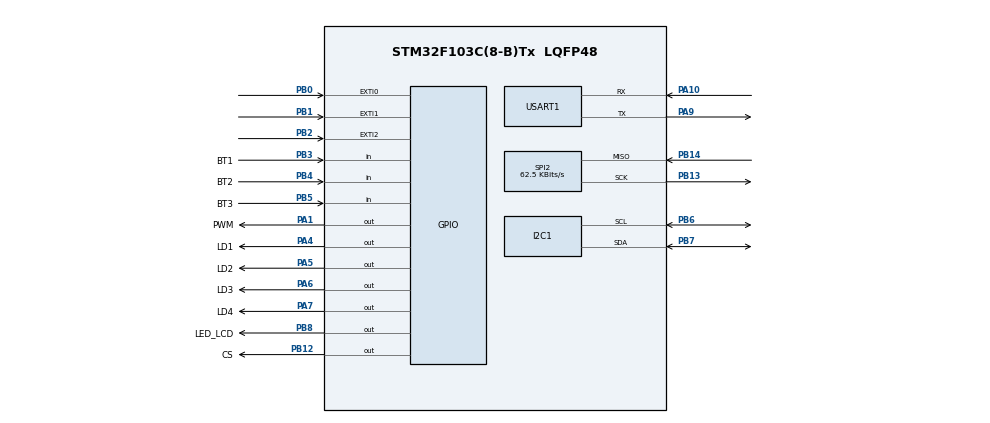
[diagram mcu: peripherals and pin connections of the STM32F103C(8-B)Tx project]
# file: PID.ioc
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Mcu.Family=STM32F1
Mcu.Name=STM32F103C(8-B)Tx
Mcu.Package=LQFP48
NVIC.EXTI0_IRQn=true\:0\:0\:false\:false\:true\:true\:true\:true
NVIC.EXTI1_IRQn=true\:0\:0\:false\:false\:true\:true\:true\:true
NVIC.EXTI2_IRQn=true\:0\:0\:false\:false\:true\:true\:true\:true
NVIC.PriorityGroup=NVIC_PRIORITYGROUP_4
PA1.GPIO_Label=PWM
PA1.Signal=GPIO_Output
PA10.Mode=Asynchronous
PA10.Signal=USART1_RX
PA13.Mode=Serial_Wire
PA13.Signal=SYS_JTMS-SWDIO
PA14.Mode=Serial_Wire
PA14.Signal=SYS_JTCK-SWCLK
PA4.GPIO_Label=LD1
PA4.Signal=GPIO_Output
PA5.GPIO_Label=LD2
PA5.Signal=GPIO_Output
PA6.GPIO_Label=LD3
PA6.Signal=GPIO_Output
PA7.GPIO_Label=LD4
PA7.Signal=GPIO_Output
PA9.Mode=Asynchronous
PA9.Signal=USART1_TX
PB0.GPIO_ModeDefaultEXTI=GPIO_MODE_IT_FALLING
PB0.GPIO_PuPd=GPIO_PULLUP
PB0.Signal=GPXTI0
PB1.GPIO_ModeDefaultEXTI=GPIO_MODE_IT_FALLING
PB1.GPIO_PuPd=GPIO_PULLUP
PB1.Signal=GPXTI1
PB12.GPIO_Label=CS
PB12.Signal=GPIO_Output
PB13.Mode=RX_Only_Simplex_Unidirect_Master
PB13.Signal=SPI2_SCK
PB14.Mode=RX_Only_Simplex_Unidirect_Master
PB14.Signal=SPI2_MISO
PB2.GPIO_ModeDefaultEXTI=GPIO_MODE_IT_FALLING
PB2.GPIO_PuPd=GPIO_PULLUP
PB2.Signal=GPXTI2
PB3.GPIO_Label=BT1
PB3.Signal=GPIO_Input
PB4.GPIO_Label=BT2
PB4.Signal=GPIO_Input
PB5.GPIO_Label=BT3
PB5.Signal=GPIO_Input
PB6.Mode=I2C
PB6.Signal=I2C1_SCL
PB7.Mode=I2C
PB7.Signal=I2C1_SDA
PB8.GPIO_Label=LED_LCD
PB8.Signal=GPIO_Output
PC14-OSC32_IN.Mode=LSE-External-Oscillator
PC14-OSC32_IN.Signal=RCC_OSC32_IN
PC15-OSC32_OUT.Mode=LSE-External-Oscillator
PC15-OSC32_OUT.Signal=RCC_OSC32_OUT
PD0-OSC_IN.Mode=HSE-External-Oscillator
PD0-OSC_IN.Signal=RCC_OSC_IN
PD1-OSC_OUT.Mode=HSE-External-Oscillator
PD1-OSC_OUT.Signal=RCC_OSC_OUT
ProjectManager.HeapSize=0x200
ProjectManager.StackSize=0x400
ProjectManager.TargetToolchain=STM32CubeIDE
RCC.APB1Freq_Value=8000000
RCC.APB2Freq_Value=8000000
RCC.SYSCLKSource=RCC_SYSCLKSOURCE_PLLCLK
RTC.OutPut=RTC_OUTPUTSOURCE_ALARM
SPI2.BaudRatePrescaler=SPI_BAUDRATEPRESCALER_128
SPI2.CRCCalculation=SPI_CRCCALCULATION_DISABLE
SPI2.CalculateBaudRate=62.5 KBits/s
SPI2.DataSize=SPI_DATASIZE_16BIT
SPI2.Direction=SPI_DIRECTION_2LINES_RXONLY
SPI2.Mode=SPI_MODE_MASTER
SPI2.VirtualType=VM_MASTER
USART1.VirtualMode=VM_ASYNC
VP_RTC_VS_RTC_Activate.Mode=RTC_Enabled
VP_RTC_VS_RTC_Calendar.Mode=RTC_Calendar
VP_TIM2_VS_ClockSourceINT.Mode=Internal
board=custom

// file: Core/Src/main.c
/* USER CODE BEGIN Header */
/**
 ******************************************************************************
 * @file           : main.c
 * @brief          : Main program body
 ******************************************************************************
 * @attention
 *
 * Copyright (c) 2023 STMicroelectronics.
 * All rights reserved.
 *
 * This software is licensed under terms that can be found in the LICENSE file
 * in the root directory of this software component.
 * If no LICENSE file comes with this software, it is provided AS-IS.
 *
 ******************************************************************************
 */
/* USER CODE END Header */
#include "main.h"

/* USER CODE BEGIN Includes */
#include "application.h"
/* USER CODE END Includes */

I2C_HandleTypeDef hi2c1;

RTC_HandleTypeDef hrtc;

SPI_HandleTypeDef hspi2;

TIM_HandleTypeDef htim2;

UART_HandleTypeDef huart1;

/* USER CODE BEGIN PV */
CLCD_I2C_Name LCD1;

PIDController pid;

uint32_t encoderCount = 60;
float powerpoint = 1.0f;
uint32_t realValue = 0;
uint8_t dir = 0;
uint64_t timestap = 0;
uint64_t sw_timestap = 0;
uint8_t status = 0;
uint8_t clsmoniter = 0;
double control_signal = 0;
/* USER CODE END PV */

void SystemClock_Config(void);
static void MX_GPIO_Init(void);
static void MX_I2C1_Init(void);
static void MX_USART1_UART_Init(void);
static void MX_SPI2_Init(void);
static void MX_RTC_Init(void);
static void MX_TIM2_Init(void);

/* USER CODE BEGIN 0 */
void HAL_GPIO_EXTI_Callback(uint16_t GPIO_Pin) {
	if (GPIO_Pin == GPIO_PIN_2 && (HAL_GetTick() - sw_timestap) > 1000) {
		if (status == 0) {
			status = 1;
			//clsmoniter = 1;
			initTime();
			PID_Init(&pid, 1.0, 0.1, 0.01, encoderCount);
		} else if (status == 1) {
			initTime();
			status = 2;
			clsmoniter = 1;
		} else if (status == 2) {
			status = 0;
			clsmoniter = 1;
		}
		sw_timestap = HAL_GetTick();
	}

	if (status == 0 || status == 1) {

		if ((HAL_GetTick() - timestap) > 100)
			dir = 0;
		if (GPIO_Pin == GPIO_PIN_1 && dir == 0
				|| GPIO_Pin == GPIO_PIN_1 && dir == 1) {
			encoderCount++;
			PID_Init(&pid, 1.0, 0.1, 0.01, encoderCount);
			HAL_GPIO_TogglePin(LD3_GPIO_Port, LD3_Pin);
			dir = 1;
			timestap = HAL_GetTick();
		}
		if (GPIO_Pin == GPIO_PIN_0 && dir == 0
				|| GPIO_Pin == GPIO_PIN_0 && dir == 2) {
			if (encoderCount > 0) {
				encoderCount--;
				PID_Init(&pid, 1.0, 0.1, 0.01, encoderCount);
			}
			HAL_GPIO_TogglePin(LD2_GPIO_Port, LD2_Pin);
			dir = 2;
			timestap = HAL_GetTick();
		}
	}

	if (status == 2) {

		if ((HAL_GetTick() - timestap) > 100)
			dir = 0;
		if (GPIO_Pin == GPIO_PIN_1 && dir == 0
				|| GPIO_Pin == GPIO_PIN_1 && dir == 1) {
			powerpoint = powerpoint + 0.05f;
			//PID_Init(&pid, 1.0, 0.1, 0.01, encoderCount);
			HAL_GPIO_TogglePin(LD3_GPIO_Port, LD3_Pin);
			dir = 1;
			timestap = HAL_GetTick();
		}
		if (GPIO_Pin == GPIO_PIN_0 && dir == 0
				|| GPIO_Pin == GPIO_PIN_0 && dir == 2) {
			if (powerpoint > 0.9f) {
				powerpoint = powerpoint - 0.05f;
				//PID_Init(&pid, 1.0, 0.1, 0.01, encoderCount);
			}
			HAL_GPIO_TogglePin(LD2_GPIO_Port, LD2_Pin);
			dir = 2;
			timestap = HAL_GetTick();
		}
	}
}

int pwmtime;
void pwm_output(int pwm) {
	if (pwm <= 0) {
		HAL_GPIO_WritePin(PWM_GPIO_Port, PWM_Pin, 1);
		HAL_GPIO_WritePin(LD4_GPIO_Port, LD4_Pin, 1);
		HAL_Delay(250);
	} else if (pwm >= 100) {
		HAL_GPIO_WritePin(PWM_GPIO_Port, PWM_Pin, 0);
		HAL_GPIO_WritePin(LD4_GPIO_Port, LD4_Pin, 0);
		HAL_Delay(250);
	} else {
		pwmtime = 100 - pwm;
		if (pwmtime == 0) {
			pwmtime = 1;
		}
		for (int i = 0; i < 3; i++) {
			HAL_GPIO_WritePin(PWM_GPIO_Port, PWM_Pin, 0);
			HAL_GPIO_WritePin(LD4_GPIO_Port, LD4_Pin, 0);
			HAL_Delay(pwm);
			HAL_GPIO_WritePin(PWM_GPIO_Port, PWM_Pin, 1);
			HAL_GPIO_WritePin(LD4_GPIO_Port, LD4_Pin, 1);
			HAL_Delay(pwmtime);
		}
	}

}

void powerPID() {

}
/* USER CODE END 0 */

int main(void) {

	/* MCU Configuration--------------------------------------------------------*/

	/* Reset of all peripherals, Initializes the Flash interface and the Systick. */
	HAL_Init();

	/* Configure the system clock */
	SystemClock_Config();

	/* Initialize all configured peripherals */
	MX_GPIO_Init();
	MX_I2C1_Init();
	MX_USART1_UART_Init();
	MX_SPI2_Init();
	MX_RTC_Init();
	MX_TIM2_Init();
	/* USER CODE BEGIN 2 */

	HAL_GPIO_WritePin(PWM_GPIO_Port, PWM_Pin, 1);

	initApp();
	MAX6675_Init();

	mainMenu();
	initTime();

	/* Create the object*/

// char *message = "Hello, UART!\r\n";
// HAL_UART_Transmit(&huart1, (uint8_t *)message, strlen(message),
// 				  HAL_MAX_DELAY);
	/* USER CODE END 2 */

	/* Infinite loop */
	while (1) {

		/* USER CODE BEGIN 3 */
		HAL_GPIO_TogglePin(LD1_GPIO_Port, LD1_Pin);
		if (clsmoniter == 1) {
			CLCD_I2C_Clear(&LCD1);
			clsmoniter = 0;
		}

		if (status == 1) {
			updateSetpoint(encoderCount);
			updateStatus(status);

			/* Functions */
			realValue = getTem();
			updateRealValue(realValue);
			control_signal = PID_Update(&pid, realValue);
			if (realValue > encoderCount) {
				pwm_output(-1);
			} else {
				pwm_output(control_signal);
			}
			updateTime();
		} else if (status == 0) {
			mainMenu();
			pwm_output(-1);
			updateSetpoint(encoderCount);
			updateStatus(status);

			/* Functions */
			realValue = getTem();
			updateRealValue(realValue);
			HAL_Delay(200);
		} else if (status == 2) {
			mainPower();
			updatePowerpoint(powerpoint);
			realValue = getTem();
			updateRealValue(realValue);
			pwm_output((int) (powerpoint * 5.8f));
			updateTime();
		}
	}
	/* USER CODE END 3 */
}

void SystemClock_Config(void) {
	RCC_OscInitTypeDef RCC_OscInitStruct = { 0 };
	RCC_ClkInitTypeDef RCC_ClkInitStruct = { 0 };
	RCC_PeriphCLKInitTypeDef PeriphClkInit = { 0 };

	/** Initializes the RCC Oscillators according to the specified parameters
	 * in the RCC_OscInitTypeDef structure.
	 */
	RCC_OscInitStruct.OscillatorType = RCC_OSCILLATORTYPE_HSI
			| RCC_OSCILLATORTYPE_LSI;
	RCC_OscInitStruct.HSIState = RCC_HSI_ON;
	RCC_OscInitStruct.HSICalibrationValue = RCC_HSICALIBRATION_DEFAULT;
	RCC_OscInitStruct.LSIState = RCC_LSI_ON;
	RCC_OscInitStruct.PLL.PLLState = RCC_PLL_ON;
	RCC_OscInitStruct.PLL.PLLSource = RCC_PLLSOURCE_HSI_DIV2;
	RCC_OscInitStruct.PLL.PLLMUL = RCC_PLL_MUL2;
	if (HAL_RCC_OscConfig(&RCC_OscInitStruct) != HAL_OK) {
		Error_Handler();
	}

	/** Initializes the CPU, AHB and APB buses clocks
	 */
	RCC_ClkInitStruct.ClockType = RCC_CLOCKTYPE_HCLK | RCC_CLOCKTYPE_SYSCLK
			| RCC_CLOCKTYPE_PCLK1 | RCC_CLOCKTYPE_PCLK2;
	RCC_ClkInitStruct.SYSCLKSource = RCC_SYSCLKSOURCE_PLLCLK;
	RCC_ClkInitStruct.AHBCLKDivider = RCC_SYSCLK_DIV1;
	RCC_ClkInitStruct.APB1CLKDivider = RCC_HCLK_DIV1;
	RCC_ClkInitStruct.APB2CLKDivider = RCC_HCLK_DIV1;

	if (HAL_RCC_ClockConfig(&RCC_ClkInitStruct, FLASH_LATENCY_0) != HAL_OK) {
		Error_Handler();
	}
	PeriphClkInit.PeriphClockSelection = RCC_PERIPHCLK_RTC;
	PeriphClkInit.RTCClockSelection = RCC_RTCCLKSOURCE_LSI;
	if (HAL_RCCEx_PeriphCLKConfig(&PeriphClkInit) != HAL_OK) {
		Error_Handler();
	}
}

static void MX_I2C1_Init(void) {

	hi2c1.Instance = I2C1;
	hi2c1.Init.ClockSpeed = 100000;
	hi2c1.Init.DutyCycle = I2C_DUTYCYCLE_2;
	hi2c1.Init.OwnAddress1 = 0;
	hi2c1.Init.AddressingMode = I2C_ADDRESSINGMODE_7BIT;
	hi2c1.Init.DualAddressMode = I2C_DUALADDRESS_DISABLE;
	hi2c1.Init.OwnAddress2 = 0;
	hi2c1.Init.GeneralCallMode = I2C_GENERALCALL_DISABLE;
	hi2c1.Init.NoStretchMode = I2C_NOSTRETCH_DISABLE;
	if (HAL_I2C_Init(&hi2c1) != HAL_OK) {
		Error_Handler();
	}

}

static void MX_RTC_Init(void) {

	RTC_TimeTypeDef sTime = { 0 };
	RTC_DateTypeDef DateToUpdate = { 0 };

	/** Initialize RTC Only
	 */
	hrtc.Instance = RTC;
	hrtc.Init.AsynchPrediv = RTC_AUTO_1_SECOND;
	hrtc.Init.OutPut = RTC_OUTPUTSOURCE_ALARM;
	if (HAL_RTC_Init(&hrtc) != HAL_OK) {
		Error_Handler();
	}

	/** Initialize RTC and set the Time and Date
	 */
	sTime.Hours = 0x0;
	sTime.Minutes = 0x0;
	sTime.Seconds = 0x0;

	if (HAL_RTC_SetTime(&hrtc, &sTime, RTC_FORMAT_BCD) != HAL_OK) {
		Error_Handler();
	}
	DateToUpdate.WeekDay = RTC_WEEKDAY_MONDAY;
	DateToUpdate.Month = RTC_MONTH_JANUARY;
	DateToUpdate.Date = 0x1;
	DateToUpdate.Year = 0x0;

	if (HAL_RTC_SetDate(&hrtc, &DateToUpdate, RTC_FORMAT_BCD) != HAL_OK) {
		Error_Handler();
	}

}

static void MX_SPI2_Init(void) {

	/* SPI2 parameter configuration*/
	hspi2.Instance = SPI2;
	hspi2.Init.Mode = SPI_MODE_MASTER;
	hspi2.Init.Direction = SPI_DIRECTION_2LINES_RXONLY;
	hspi2.Init.DataSize = SPI_DATASIZE_16BIT;
	hspi2.Init.CLKPolarity = SPI_POLARITY_LOW;
	hspi2.Init.CLKPhase = SPI_PHASE_1EDGE;
	hspi2.Init.NSS = SPI_NSS_SOFT;
	hspi2.Init.BaudRatePrescaler = SPI_BAUDRATEPRESCALER_128;
	hspi2.Init.FirstBit = SPI_FIRSTBIT_MSB;
	hspi2.Init.TIMode = SPI_TIMODE_DISABLE;
	hspi2.Init.CRCCalculation = SPI_CRCCALCULATION_DISABLE;
	hspi2.Init.CRCPolynomial = 10;
	if (HAL_SPI_Init(&hspi2) != HAL_OK) {
		Error_Handler();
	}

}

static void MX_TIM2_Init(void) {

	TIM_ClockConfigTypeDef sClockSourceConfig = { 0 };
	TIM_MasterConfigTypeDef sMasterConfig = { 0 };

	htim2.Instance = TIM2;
	htim2.Init.Prescaler = 0;
	htim2.Init.CounterMode = TIM_COUNTERMODE_UP;
	htim2.Init.Period = 65535;
	htim2.Init.ClockDivision = TIM_CLOCKDIVISION_DIV1;
	htim2.Init.AutoReloadPreload = TIM_AUTORELOAD_PRELOAD_DISABLE;
	if (HAL_TIM_Base_Init(&htim2) != HAL_OK) {
		Error_Handler();
	}
	sClockSourceConfig.ClockSource = TIM_CLOCKSOURCE_INTERNAL;
	if (HAL_TIM_ConfigClockSource(&htim2, &sClockSourceConfig) != HAL_OK) {
		Error_Handler();
	}
	sMasterConfig.MasterOutputTrigger = TIM_TRGO_RESET;
	sMasterConfig.MasterSlaveMode = TIM_MASTERSLAVEMODE_DISABLE;
	if (HAL_TIMEx_MasterConfigSynchronization(&htim2, &sMasterConfig)
			!= HAL_OK) {
		Error_Handler();
	}

}

static void MX_USART1_UART_Init(void) {

	huart1.Instance = USART1;
	huart1.Init.BaudRate = 115200;
	huart1.Init.WordLength = UART_WORDLENGTH_8B;
	huart1.Init.StopBits = UART_STOPBITS_1;
	huart1.Init.Parity = UART_PARITY_NONE;
	huart1.Init.Mode = UART_MODE_TX_RX;
	huart1.Init.HwFlowCtl = UART_HWCONTROL_NONE;
	huart1.Init.OverSampling = UART_OVERSAMPLING_16;
	if (HAL_UART_Init(&huart1) != HAL_OK) {
		Error_Handler();
	}

}

static void MX_GPIO_Init(void) {
	GPIO_InitTypeDef GPIO_InitStruct = { 0 };

	/* GPIO Ports Clock Enable */
	__HAL_RCC_GPIOC_CLK_ENABLE();
	__HAL_RCC_GPIOD_CLK_ENABLE();
	__HAL_RCC_GPIOA_CLK_ENABLE();
	__HAL_RCC_GPIOB_CLK_ENABLE();

	/*Configure GPIO pin Output Level */
	HAL_GPIO_WritePin(GPIOA, PWM_Pin | LD1_Pin | LD2_Pin | LD3_Pin | LD4_Pin,
			GPIO_PIN_RESET);

	/*Configure GPIO pin Output Level */
	HAL_GPIO_WritePin(GPIOB, CS_Pin | LED_LCD_Pin, GPIO_PIN_RESET);

	/*Configure GPIO pins : PWM_Pin LD1_Pin LD2_Pin LD3_Pin
	 LD4_Pin */
	GPIO_InitStruct.Pin = PWM_Pin | LD1_Pin | LD2_Pin | LD3_Pin | LD4_Pin;
	GPIO_InitStruct.Mode = GPIO_MODE_OUTPUT_PP;
	GPIO_InitStruct.Pull = GPIO_NOPULL;
	GPIO_InitStruct.Speed = GPIO_SPEED_FREQ_LOW;
	HAL_GPIO_Init(GPIOA, &GPIO_InitStruct);

	/*Configure GPIO pins : PB0 PB1 PB2 */
	GPIO_InitStruct.Pin = GPIO_PIN_0 | GPIO_PIN_1 | GPIO_PIN_2;
	GPIO_InitStruct.Mode = GPIO_MODE_IT_FALLING;
	GPIO_InitStruct.Pull = GPIO_PULLUP;
	HAL_GPIO_Init(GPIOB, &GPIO_InitStruct);

	/*Configure GPIO pins : CS_Pin LED_LCD_Pin */
	GPIO_InitStruct.Pin = CS_Pin | LED_LCD_Pin;
	GPIO_InitStruct.Mode = GPIO_MODE_OUTPUT_PP;
	GPIO_InitStruct.Pull = GPIO_NOPULL;
	GPIO_InitStruct.Speed = GPIO_SPEED_FREQ_LOW;
	HAL_GPIO_Init(GPIOB, &GPIO_InitStruct);

	/*Configure GPIO pins : BT1_Pin BT2_Pin BT3_Pin */
	GPIO_InitStruct.Pin = BT1_Pin | BT2_Pin | BT3_Pin;
	GPIO_InitStruct.Mode = GPIO_MODE_INPUT;
	GPIO_InitStruct.Pull = GPIO_NOPULL;
	HAL_GPIO_Init(GPIOB, &GPIO_InitStruct);

	/* EXTI interrupt init*/
	HAL_NVIC_SetPriority(EXTI0_IRQn, 0, 0);
	HAL_NVIC_EnableIRQ(EXTI0_IRQn);

	HAL_NVIC_SetPriority(EXTI1_IRQn, 0, 0);
	HAL_NVIC_EnableIRQ(EXTI1_IRQn);

	HAL_NVIC_SetPriority(EXTI2_IRQn, 0, 0);
	HAL_NVIC_EnableIRQ(EXTI2_IRQn);

}

void Error_Handler(void) {
	__disable_irq();
	while (1) {
	}
}
